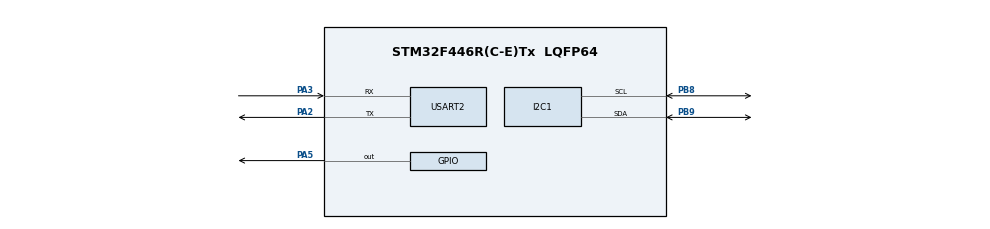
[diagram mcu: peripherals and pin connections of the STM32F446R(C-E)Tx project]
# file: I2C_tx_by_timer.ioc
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I2C1.GeneralCallMode=I2C_GENERALCALL_ENABLE
I2C1.OwnAddress=0
Mcu.Family=STM32F4
Mcu.Name=STM32F446R(C-E)Tx
Mcu.Package=LQFP64
NVIC.I2C1_EV_IRQn=true\:0\:0\:false\:false\:true\:true\:true
NVIC.PriorityGroup=NVIC_PRIORITYGROUP_4
PA13.Mode=Serial_Wire
PA13.Signal=SYS_JTMS-SWDIO
PA14.Mode=Serial_Wire
PA14.Signal=SYS_JTCK-SWCLK
PA2.Mode=Asynchronous
PA2.Signal=USART2_TX
PA3.Mode=Asynchronous
PA3.Signal=USART2_RX
PA5.Signal=GPIO_Output
PB8.GPIO_Pu=GPIO_NOPULL
PB8.Mode=I2C
PB8.Signal=I2C1_SCL
PB9.GPIO_Pu=GPIO_NOPULL
PB9.Mode=I2C
PB9.Signal=I2C1_SDA
PH0-OSC_IN.Mode=HSE-External-Oscillator
PH0-OSC_IN.Signal=RCC_OSC_IN
PH1-OSC_OUT.Mode=HSE-External-Oscillator
PH1-OSC_OUT.Signal=RCC_OSC_OUT
ProjectManager.HeapSize=0x200
ProjectManager.StackSize=0x400
ProjectManager.TargetToolchain=STM32CubeIDE
RCC.CortexFreq_Value=16000000
RCC.USBFreq_Value=96000000
RCC.VCOOutputFreq_Value=192000000
TIM1.Channel-Output\ Compare1\ No\ Output=TIM_CHANNEL_1
TIM1.Prescaler=1
USART2.VirtualMode=VM_ASYNC
VP_TIM1_VS_ClockSourceINT.Mode=Internal
VP_TIM1_VS_no_output1.Mode=Output Compare1 No Output
board=custom

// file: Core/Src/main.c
/* USER CODE BEGIN Header */
/**
  ******************************************************************************
  * @file           : main.c
  * @brief          : Main program body
  ******************************************************************************
  * @attention
  *
  * <h2><center>&copy; Copyright (c) 2021 STMicroelectronics.
  * All rights reserved.</center></h2>
  *
  * This software component is licensed by ST under BSD 3-Clause license,
  * the "License"; You may not use this file except in compliance with the
  * License. You may obtain a copy of the License at:
  *                        opensource.org/licenses/BSD-3-Clause
  *
  ******************************************************************************
  */
/* USER CODE END Header */
#include "main.h"
#include<string.h>
#include<stdlib.h>
#include<stdio.h>

/* USER CODE BEGIN Includes */
#define CLK_FRQ 16000000
/* USER CODE END Includes */

I2C_HandleTypeDef hi2c1;

TIM_HandleTypeDef htim1;

UART_HandleTypeDef huart2;

void SystemClock_Config(void);
static void MX_GPIO_Init(void);
static void MX_USART2_UART_Init(void);
static void MX_I2C1_Init(void);
static void MX_TIM1_Init(void);

/* USER CODE BEGIN 0 */
uint8_t tx_data[12]="Hello World";
uint8_t timer[8];
char msg[5];
float time_res=0;
int flag=0;
void HAL_I2C_MasterTxCpltCallback(I2C_HandleTypeDef *hi2c)
{
  flag=1;
}

/* USER CODE END 0 */

int main(void)
{
  /* USER CODE BEGIN 1 */

	unsigned short int start_time=0,stop_time=0,time_diff=0;

  /* USER CODE END 1 */

  /* MCU Configuration--------------------------------------------------------*/

  /* Reset of all peripherals, Initializes the Flash interface and the Systick. */
  HAL_Init();

  /* Configure the system clock */
  SystemClock_Config();

  /* Initialize all configured peripherals */
  MX_GPIO_Init();
  MX_USART2_UART_Init();
  MX_I2C1_Init();
  MX_TIM1_Init();
  HAL_TIM_Base_Start(&htim1);
  /* USER CODE BEGIN 2 */

 HAL_I2C_Master_Transmit_IT(&hi2c1, 14<<1, (uint8_t *)tx_data, sizeof(tx_data));

  /* USER CODE END 2 */

  /* Infinite loop */
  while (1)
  {

    /* USER CODE BEGIN 3 */
	             if(flag==1)
	             {
	            	 flag=0;
	            	 start_time =__HAL_TIM_GET_COUNTER(&htim1);
	             	 if(HAL_I2C_Master_Transmit_IT(&hi2c1, 14<<1, (uint8_t *)tx_data, sizeof(tx_data))==HAL_OK)
	                  {
	            	 	  	   stop_time =__HAL_TIM_GET_COUNTER(&htim1);
	            	 	  	   time_diff = stop_time - start_time;
	            	 	  	   time_res = (float)(time_diff*1000000)/CLK_FRQ;
	            	 	  	 //  sprintf(timer,"%d",time_res);
	            	 	  	   gcvt(time_res,8,timer);
	            	 	  	   HAL_UART_Transmit(&huart2, (uint8_t *)timer, sizeof(timer), 100);
	            	 	  	   HAL_GPIO_TogglePin(GPIOA, GPIO_PIN_5);
	           	      }

//	            	 	   if (HAL_I2C_GetError(&hi2c1) != HAL_I2C_ERROR_NONE)
//	            	 	   {
//	            	 	  	  	          // Handle the error or print error information
//	            	 	  	  	          // For example, you can print the error code:
//	            	 	  	  	       int _I2C = HAL_I2C_GetError(&hi2c1);
//	            	 	  	  	       sprintf(msg,"%d\n",_I2C);
//	            	 	  	  	       HAL_UART_Transmit(&huart2,(uint8_t *) msg, sizeof(msg), 100);
//	            	 	  	 }

	             }

	             HAL_Delay(500);
	             }

  /* USER CODE END 3 */
}

void SystemClock_Config(void)
{
  RCC_OscInitTypeDef RCC_OscInitStruct = {0};
  RCC_ClkInitTypeDef RCC_ClkInitStruct = {0};

  /** Configure the main internal regulator output voltage
  */
  __HAL_RCC_PWR_CLK_ENABLE();
  __HAL_PWR_VOLTAGESCALING_CONFIG(PWR_REGULATOR_VOLTAGE_SCALE3);
  /** Initializes the RCC Oscillators according to the specified parameters
  * in the RCC_OscInitTypeDef structure.
  */
  RCC_OscInitStruct.OscillatorType = RCC_OSCILLATORTYPE_HSI;
  RCC_OscInitStruct.HSIState = RCC_HSI_ON;
  RCC_OscInitStruct.HSICalibrationValue = RCC_HSICALIBRATION_DEFAULT;
  RCC_OscInitStruct.PLL.PLLState = RCC_PLL_NONE;
  if (HAL_RCC_OscConfig(&RCC_OscInitStruct) != HAL_OK)
  {
    Error_Handler();
  }
  /** Initializes the CPU, AHB and APB buses clocks
  */
  RCC_ClkInitStruct.ClockType = RCC_CLOCKTYPE_HCLK|RCC_CLOCKTYPE_SYSCLK
                              |RCC_CLOCKTYPE_PCLK1|RCC_CLOCKTYPE_PCLK2;
  RCC_ClkInitStruct.SYSCLKSource = RCC_SYSCLKSOURCE_HSI;
  RCC_ClkInitStruct.AHBCLKDivider = RCC_SYSCLK_DIV1;
  RCC_ClkInitStruct.APB1CLKDivider = RCC_HCLK_DIV1;
  RCC_ClkInitStruct.APB2CLKDivider = RCC_HCLK_DIV1;

  if (HAL_RCC_ClockConfig(&RCC_ClkInitStruct, FLASH_LATENCY_0) != HAL_OK)
  {
    Error_Handler();
  }
}

static void MX_I2C1_Init(void)
{

  hi2c1.Instance = I2C1;
  hi2c1.Init.ClockSpeed = 100000;
  hi2c1.Init.DutyCycle = I2C_DUTYCYCLE_2;
  hi2c1.Init.OwnAddress1 = 0;
  hi2c1.Init.AddressingMode = I2C_ADDRESSINGMODE_7BIT;
  hi2c1.Init.DualAddressMode = I2C_DUALADDRESS_DISABLE;
  hi2c1.Init.OwnAddress2 = 0;
  hi2c1.Init.GeneralCallMode = I2C_GENERALCALL_ENABLE;
  hi2c1.Init.NoStretchMode = I2C_NOSTRETCH_DISABLE;
  if (HAL_I2C_Init(&hi2c1) != HAL_OK)
  {
    Error_Handler();
  }

}

static void MX_TIM1_Init(void)
{

  TIM_ClockConfigTypeDef sClockSourceConfig = {0};
  TIM_MasterConfigTypeDef sMasterConfig = {0};
  TIM_OC_InitTypeDef sConfigOC = {0};
  TIM_BreakDeadTimeConfigTypeDef sBreakDeadTimeConfig = {0};

  htim1.Instance = TIM1;
  htim1.Init.Prescaler = 1;
  htim1.Init.CounterMode = TIM_COUNTERMODE_UP;
  htim1.Init.Period = 65535;
  htim1.Init.ClockDivision = TIM_CLOCKDIVISION_DIV1;
  htim1.Init.RepetitionCounter = 0;
  htim1.Init.AutoReloadPreload = TIM_AUTORELOAD_PRELOAD_DISABLE;
  if (HAL_TIM_Base_Init(&htim1) != HAL_OK)
  {
    Error_Handler();
  }
  sClockSourceConfig.ClockSource = TIM_CLOCKSOURCE_INTERNAL;
  if (HAL_TIM_ConfigClockSource(&htim1, &sClockSourceConfig) != HAL_OK)
  {
    Error_Handler();
  }
  if (HAL_TIM_OC_Init(&htim1) != HAL_OK)
  {
    Error_Handler();
  }
  sMasterConfig.MasterOutputTrigger = TIM_TRGO_RESET;
  sMasterConfig.MasterSlaveMode = TIM_MASTERSLAVEMODE_DISABLE;
  if (HAL_TIMEx_MasterConfigSynchronization(&htim1, &sMasterConfig) != HAL_OK)
  {
    Error_Handler();
  }
  sConfigOC.OCMode = TIM_OCMODE_TIMING;
  sConfigOC.Pulse = 0;
  sConfigOC.OCPolarity = TIM_OCPOLARITY_HIGH;
  sConfigOC.OCNPolarity = TIM_OCNPOLARITY_HIGH;
  sConfigOC.OCFastMode = TIM_OCFAST_DISABLE;
  sConfigOC.OCIdleState = TIM_OCIDLESTATE_RESET;
  sConfigOC.OCNIdleState = TIM_OCNIDLESTATE_RESET;
  if (HAL_TIM_OC_ConfigChannel(&htim1, &sConfigOC, TIM_CHANNEL_1) != HAL_OK)
  {
    Error_Handler();
  }
  sBreakDeadTimeConfig.OffStateRunMode = TIM_OSSR_DISABLE;
  sBreakDeadTimeConfig.OffStateIDLEMode = TIM_OSSI_DISABLE;
  sBreakDeadTimeConfig.LockLevel = TIM_LOCKLEVEL_OFF;
  sBreakDeadTimeConfig.DeadTime = 0;
  sBreakDeadTimeConfig.BreakState = TIM_BREAK_DISABLE;
  sBreakDeadTimeConfig.BreakPolarity = TIM_BREAKPOLARITY_HIGH;
  sBreakDeadTimeConfig.AutomaticOutput = TIM_AUTOMATICOUTPUT_DISABLE;
  if (HAL_TIMEx_ConfigBreakDeadTime(&htim1, &sBreakDeadTimeConfig) != HAL_OK)
  {
    Error_Handler();
  }

}

static void MX_USART2_UART_Init(void)
{

  huart2.Instance = USART2;
  huart2.Init.BaudRate = 115200;
  huart2.Init.WordLength = UART_WORDLENGTH_8B;
  huart2.Init.StopBits = UART_STOPBITS_1;
  huart2.Init.Parity = UART_PARITY_NONE;
  huart2.Init.Mode = UART_MODE_TX_RX;
  huart2.Init.HwFlowCtl = UART_HWCONTROL_NONE;
  huart2.Init.OverSampling = UART_OVERSAMPLING_16;
  if (HAL_UART_Init(&huart2) != HAL_OK)
  {
    Error_Handler();
  }

}

static void MX_GPIO_Init(void)
{
  GPIO_InitTypeDef GPIO_InitStruct = {0};

  /* GPIO Ports Clock Enable */
  __HAL_RCC_GPIOH_CLK_ENABLE();
  __HAL_RCC_GPIOA_CLK_ENABLE();
  __HAL_RCC_GPIOB_CLK_ENABLE();

  /*Configure GPIO pin Output Level */
  HAL_GPIO_WritePin(GPIOA, GPIO_PIN_5, GPIO_PIN_RESET);

  /*Configure GPIO pin : PA5 */
  GPIO_InitStruct.Pin = GPIO_PIN_5;
  GPIO_InitStruct.Mode = GPIO_MODE_OUTPUT_PP;
  GPIO_InitStruct.Pull = GPIO_NOPULL;
  GPIO_InitStruct.Speed = GPIO_SPEED_FREQ_LOW;
  HAL_GPIO_Init(GPIOA, &GPIO_InitStruct);

}

void Error_Handler(void)
{
  __disable_irq();
  while (1)
  {
  }
}

/************************ (C) COPYRIGHT STMicroelectronics *****END OF FILE****/
